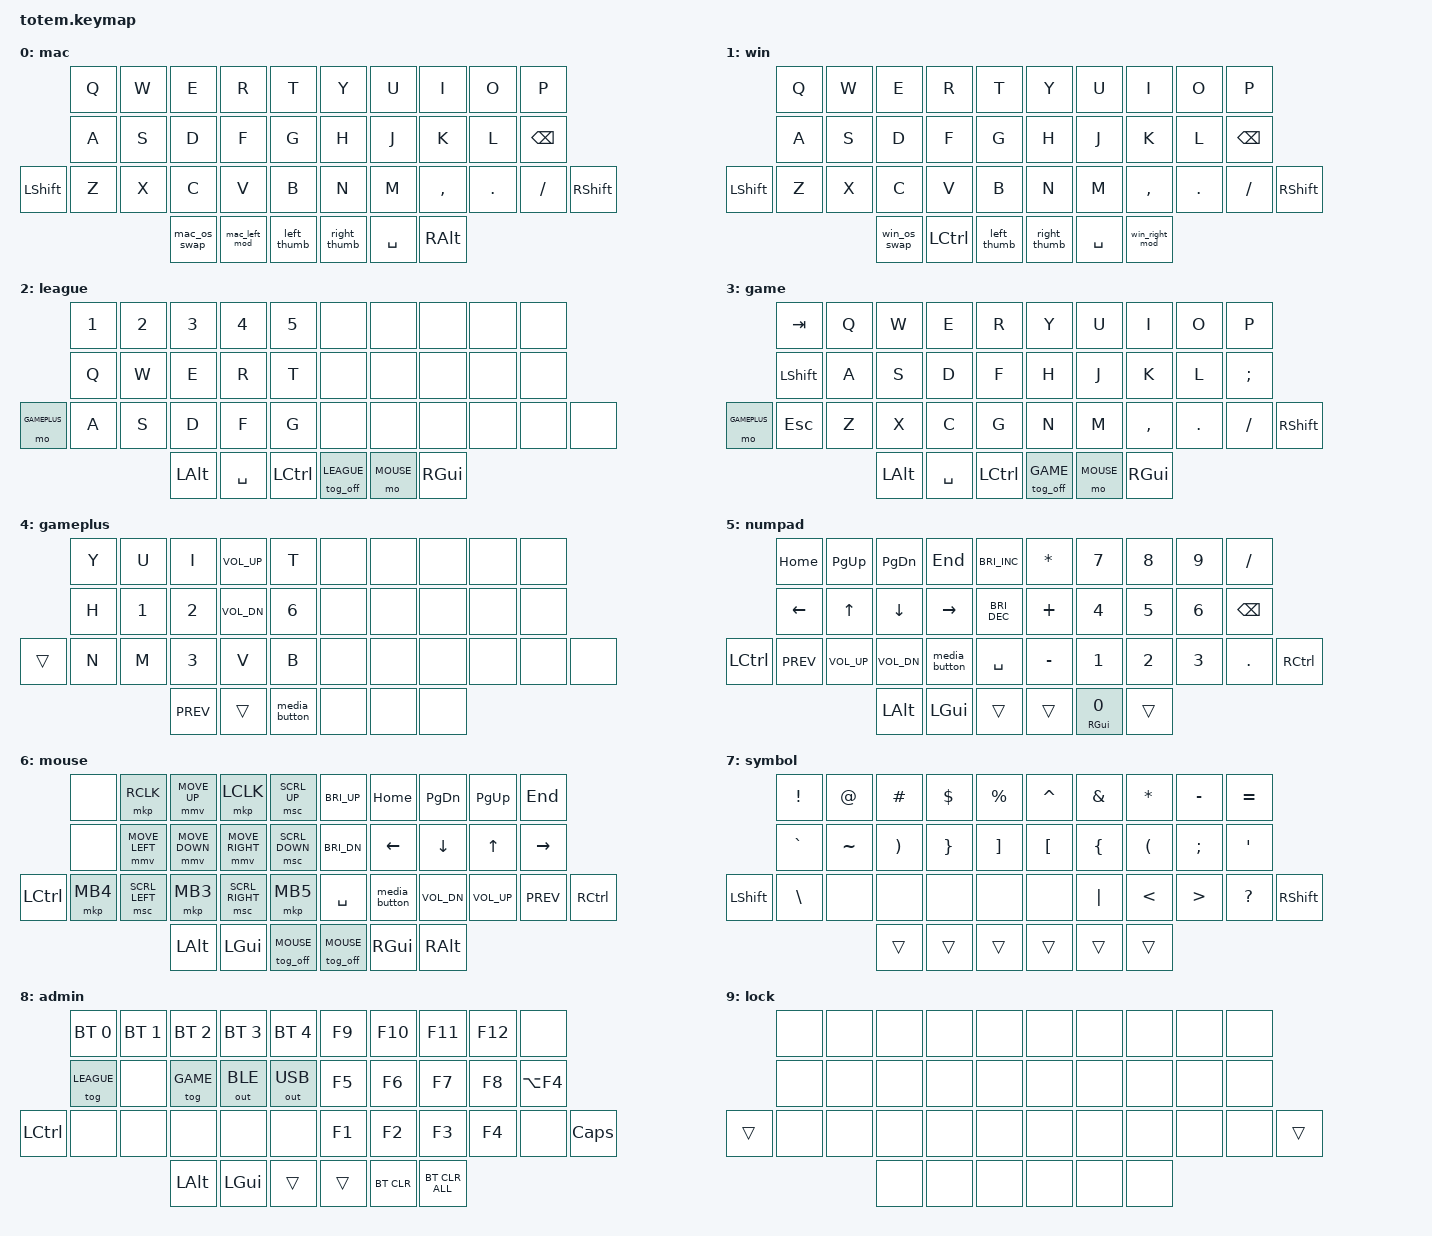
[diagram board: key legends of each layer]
//
//                                                        ▀▀▀▀▀     ▀▀▀▀▀          ▀▀█▀▀
//                                                        ▄▀▀▀▄  ▄  ▄▀▀▀▄  ▄  ▄▀▀▀▄  █  ▄▀▀▀▄
//                                                        █   █  █  █   █  █  █   █  █  █   █
//                                                         ▀▀▀   █   ▀▀▀   █   ▀▀▀   ▀   ▀▀▀
//                                                               █      ▄▄▄█▄▄▄    █   █  
//                                                               ▀      █  █  █     █▄█
//                                                             ▀▀▀▀▀    █  █  █      ▀
//                                                                      ▀  ▀  ▀
//
// ▄▄▄▄▄▄▄▄▄▄▄▄▄▄▄▄▄▄▄▄▄▄▄▄▄▄▄▄▄▄▄▄▄▄▄▄▄▄▄▄▄▄▄▄▄▄▄▄▄▄▄▄▄▄▄▄▄▄▄▄▄▄▄▄▄▄▄▄▄▄▄▄▄▄▄▄▄▄▄▄▄▄▄▄▄▄▄▄▄▄▄▄▄▄▄▄▄▄▄▄▄▄▄▄▄▄▄▄▄▄▄▄▄▄▄▄▄▄▄▄▄▄▄▄▄▄▄▄▄▄▄▄▄▄▄▄▄▄▄▄▄▄▄▄▄▄▄▄▄

#include <behaviors.dtsi>
#include <dt-bindings/zmk/bt.h>
#include <dt-bindings/zmk/keys.h>
#include <dt-bindings/zmk/outputs.h>
#include <dt-bindings/zmk/pointing.h>

#define ZMK_POINTING_DEFAULT_MOVE_VAL 1200
#define ZMK_POINTING_DEFAULT_SCRL_VAL 20
#define MAC 0
#define WIN 1
#define LEAGUE 2
#define GAME 3
#define GAMEPLUS 4
#define NUMPAD 5
#define MOUSE 6
#define SYMBOL 7
#define ADMIN 8

/ {
    combos {
        compatible = "zmk,combos";

        escape {
            bindings = <&kp ESCAPE>;
            key-positions = <21 22>;
            layers = <0 1 2>;
        };

        tab {
            bindings = <&kp TAB>;
            key-positions = <0 1>;
            layers = <0 1 2>;
        };

        lock {
            bindings = <&tog 9>;
            key-positions = <20 31>;
            layers = <0 1 9 6>;
            require-prior-idle-ms = <25>;
        };

        enter {
            bindings = <&kp ENTER>;
            key-positions = <18 19>;
            layers = <0 1 3>;
            require-prior-idle-ms = <30>;
        };

        game_enter {
            bindings = <&kp ENTER>;
            key-positions = <20 10>;
            layers = <3>;
        };

        left_del {
            bindings = <&kp DEL>;
            key-positions = <20 10>;
            layers = <0 1 5 7>;
        };

        soft_off {
            bindings = <&soft_off>;
            key-positions = <24 27>;
            layers = <8>;
        };

        league_six {
            bindings = <&kp N6>;
            key-positions = <3 4>;
            layers = <2>;
        };

        left_mute {
            bindings = <&kp C_MUTE>;
            key-positions = <23 22>;
            layers = <5>;
        };
    };

    behaviors {
        mmv {
            acceleration-exponent = <1>;      // 1
            time-to-max-speed-ms = <900>;    // 0
            delay-ms = <0>;                   // 0
        };

        msc {
            acceleration-exponent = <1>;      // 0
            time-to-max-speed-ms = <400>;      // 500
            delay-ms = <0>;                   //   10
        };

        left_thumb: left_thumb {
            compatible = "zmk,behavior-tap-dance";
            label = "LEFT_THUMB";
            #binding-cells = <0>;
            bindings = <&mo 5>, <&tog 6>;
        };

        right_thumb: right_thumb {
            compatible = "zmk,behavior-tap-dance";
            label = "RIGHT_THUMB";
            #binding-cells = <0>;
            bindings = <&mo 7>, <&tog 6>;
        };

        win_right_mod: win_right_mod {
            compatible = "zmk,behavior-tap-dance";
            label = "WIN_RIGHT_MOD";
            #binding-cells = <0>;
            bindings = <&kp RCTRL>, <&kp RGUI>;
        };

        win_os_swap: win_os_swap {
            compatible = "zmk,behavior-tap-dance";
            label = "WIN_OS_SWAP";
            #binding-cells = <0>;
            bindings = <&kp LEFT_ALT>, <&to 0>;
        };

        media_button: media_button {
            compatible = "zmk,behavior-tap-dance";
            label = "MEDIA_BUTTON";
            #binding-cells = <0>;
            bindings = <&kp C_PLAY_PAUSE>, <&kp C_NEXT>, <&kp C_PREV>;
        };

        mac_left_mod: mac_left_mod {
            compatible = "zmk,behavior-tap-dance";
            label = "MAC_LEFT_MOD";
            #binding-cells = <0>;
            bindings = <&kp LEFT_COMMAND>, <&kp LEFT_ALT>;
        };

        mac_os_swap: mac_os_swap {
            compatible = "zmk,behavior-tap-dance";
            label = "MAC_OS_SWAP";
            #binding-cells = <0>;
            bindings = <&kp LCTRL>, <&to 1>;
        };

        tog_off: toggle_layer_off_only {
            compatible = "zmk,behavior-toggle-layer";
            #binding-cells = <1>;
            display-name = "Toggle Layer Off";
            toggle-mode = "off";
        };
    };

    keymap {
        compatible = "zmk,keymap";

        // ▄▄▄▄▄▄▄▄▄▄▄▄▄▄▄▄▄▄▄▄▄▄▄▄▄▄▄▄▄▄▄▄▄▄▄▄▄▄▄▄▄▄▄▄▄▄▄▄▄▄▄▄▄▄▄▄▄▄▄▄▄▄▄▄▄▄▄▄▄▄▄▄▄▄▄▄▄▄▄▄▄▄▄▄▄▄▄▄▄▄▄▄▄▄▄▄▄▄▄▄▄▄▄▄▄▄▄▄▄▄▄▄▄▄▄▄▄▄▄▄▄▄▄▄▄▄▄▄▄▄▄▄▄▄▄▄▄▄▄▄▄▄▄▄▄▄▄▄▄

        mac {
            bindings = <
                &kp Q  &kp W  &kp E         &kp R          &kp T          &kp Y         &kp U      &kp I      &kp O    &kp P
                &kp A  &kp S  &kp D         &kp F          &kp G          &kp H         &kp J      &kp K      &kp L    &kp BSPC
&kp LEFT_SHIFT  &kp Z  &kp X  &kp C         &kp V          &kp B          &kp N         &kp M      &kp COMMA  &kp DOT  &kp SLASH  &kp RSHIFT
                              &mac_os_swap  &mac_left_mod  &left_thumb    &right_thumb  &kp SPACE  &kp RALT
            >;
        };

        win {
            bindings = <
                &kp Q  &kp W  &kp E         &kp R      &kp T          &kp Y         &kp U      &kp I           &kp O    &kp P
                &kp A  &kp S  &kp D         &kp F      &kp G          &kp H         &kp J      &kp K           &kp L    &kp BSPC
&kp LEFT_SHIFT  &kp Z  &kp X  &kp C         &kp V      &kp B          &kp N         &kp M      &kp COMMA       &kp DOT  &kp SLASH  &kp RSHIFT
                              &win_os_swap  &kp LCTRL  &left_thumb    &right_thumb  &kp SPACE  &win_right_mod
            >;
        };

        league {
            bindings = <
              &kp N1  &kp N2  &kp N3    &kp N4     &kp N5       &none            &none      &none          &none  &none
              &kp Q   &kp W   &kp E     &kp R      &kp T        &none            &none      &none          &none  &none
&mo GAMEPLUS  &kp A   &kp S   &kp D     &kp F      &kp G        &none            &none      &none          &none  &none  &none
                              &kp LALT  &kp SPACE  &kp LCTRL    &tog_off LEAGUE  &mo MOUSE  &kp RIGHT_GUI
            >;
        };

        game {
            bindings = <
              &kp TAB     &kp Q  &kp W     &kp E      &kp R        &kp Y          &kp U      &kp I          &kp O    &kp P
              &kp LSHIFT  &kp A  &kp S     &kp D      &kp F        &kp H          &kp J      &kp K          &kp L    &kp SEMICOLON
&mo GAMEPLUS  &kp ESC     &kp Z  &kp X     &kp C      &kp G        &kp N          &kp M      &kp COMMA      &kp DOT  &kp FSLH       &kp RSHIFT
                                 &kp LALT  &kp SPACE  &kp LCTRL    &tog_off GAME  &mo MOUSE  &kp RIGHT_GUI
            >;
        };

        gameplus {
            bindings = <
        &kp Y  &kp U   &kp I       &kp C_VOL_UP  &kp T            &none  &none  &none  &none  &none
        &kp H  &kp N1  &kp N2      &kp C_VOL_DN  &kp N6           &none  &none  &none  &none  &none
&trans  &kp N  &kp M   &kp N3      &kp V         &kp B            &none  &none  &none  &none  &none  &none
                       &kp C_PREV  &trans        &media_button    &none  &none  &none
            >;
        };

        numpad {
            bindings = <
           &kp HOME    &kp PG_UP     &kp PG_DN     &kp END        &kp C_BRIGHTNESS_INC    &kp STAR   &kp N7            &kp N8  &kp N9  &kp FSLH
           &kp LEFT    &kp UP        &kp DOWN      &kp RIGHT      &kp C_BRIGHTNESS_DEC    &kp PLUS   &kp N4            &kp N5  &kp N6  &kp BSPC
&kp LCTRL  &kp C_PREV  &kp C_VOL_UP  &kp C_VOL_DN  &media_button  &kp SPACE               &kp MINUS  &kp N1            &kp N2  &kp N3  &kp DOT   &kp RIGHT_CONTROL
                                     &kp LEFT_ALT  &kp LEFT_GUI   &trans                  &trans     &mt RIGHT_GUI N0  &trans
            >;
        };

        mouse {
            bindings = <
           &none     &mkp RCLK       &mmv MOVE_UP    &mkp LCLK        &msc SCRL_UP      &kp C_BRI_UP    &kp HOME       &kp PG_DN      &kp PG_UP     &kp END
           &none     &mmv MOVE_LEFT  &mmv MOVE_DOWN  &mmv MOVE_RIGHT  &msc SCRL_DOWN    &kp C_BRI_DN    &kp LEFT       &kp DOWN       &kp UP        &kp RIGHT
&kp LCTRL  &mkp MB4  &msc SCRL_LEFT  &mkp MB3        &msc SCRL_RIGHT  &mkp MB5          &kp SPACE       &media_button  &kp C_VOL_DN   &kp C_VOL_UP  &kp C_PREV  &kp RCTRL
                                     &kp LEFT_ALT    &kp LEFT_GUI     &tog_off MOUSE    &tog_off MOUSE  &kp RIGHT_GUI  &kp RIGHT_ALT
            >;
        };

        symbol {
            bindings = <
            &kp EXCLAMATION  &kp AT_SIGN  &kp POUND              &kp DOLLAR       &kp PERCENT          &kp CARET         &kp AMPERSAND   &kp ASTERISK          &kp MINUS         &kp EQUAL
            &kp GRAVE        &kp TILDE    &kp RIGHT_PARENTHESIS  &kp RIGHT_BRACE  &kp RIGHT_BRACKET    &kp LEFT_BRACKET  &kp LEFT_BRACE  &kp LEFT_PARENTHESIS  &kp SEMICOLON     &kp APOS
&kp LSHIFT  &kp BACKSLASH    &none        &none                  &none            &none                &none             &kp PIPE        &kp LESS_THAN         &kp GREATER_THAN  &kp QUESTION  &kp RIGHT_SHIFT
                                          &trans                 &trans           &trans               &trans            &trans          &trans
            >;
        };

        admin {
            bindings = <
           &bt BT_SEL 0  &bt BT_SEL 1  &bt BT_SEL 2  &bt BT_SEL 3  &bt BT_SEL 4    &kp F9  &kp F10     &kp F11         &kp F12  &none
           &tog LEAGUE   &none         &tog GAME     &out OUT_BLE  &out OUT_USB    &kp F5  &kp F6      &kp F7          &kp F8   &kp LA(F4)
&kp LCTRL  &none         &none         &none         &none         &none           &kp F1  &kp F2      &kp F3          &kp F4   &none       &kp CAPSLOCK
                                       &kp LEFT_ALT  &kp LEFT_GUI  &trans          &trans  &bt BT_CLR  &bt BT_CLR_ALL
            >;
        };

        lock {
            bindings = <
        &none  &none  &none  &none  &none    &none  &none  &none  &none  &none
        &none  &none  &none  &none  &none    &none  &none  &none  &none  &none
&trans  &none  &none  &none  &none  &none    &none  &none  &none  &none  &none  &trans
                      &none  &none  &none    &none  &none  &none
            >;
        };
    };

    conditional_layers {
        compatible = "zmk,conditional-layers";

        admin {
            if-layers = <5 7>;
            then-layer = <8>;
        };
    };
};

// ┏━━━━━━━━━━━━━━━━━━━━━━━━━━━━━━━━━━━━━━━┓
// ┗━━━━━━━━━━━━━━━━━━━━━━━━━━━━━━━━━━━━━━━┛
//             ┏━━━━━━━━━━━┳━━━━━━━━━━━┳━━━━━━━━━━━┳━━━━━━━━━━━┳━━━━━━━━━━━┓   ┏━━━━━━━━━━━┳━━━━━━━━━━━┳━━━━━━━━━━━┳━━━━━━━━━━━┳━━━━━━━━━━━┓
//             ┃     Q     ┃     W     ┃     E     ┃     R     ┃     T     ┃   ┃     Y     ┃     U     ┃     I     ┃     O     ┃     P     ┃
//             ┣━━━━━━━━━━━╋━━━━━━━━━━━╋━━━━━━━━━━━╋━━━━━━━━━━━╋━━━━━━━━━━━┫   ┣━━━━━━━━━━━╋━━━━━━━━━━━╋━━━━━━━━━━━╋━━━━━━━━━━━╋━━━━━━━━━━━┫
//             ┃     A     ┃     R     ┃     S     ┃     T     ┃     D     ┃   ┃     H     ┃     N     ┃     E     ┃     I     ┃     O     ┃
// ┏━━━━━━━━━━━╋━━━━━━━━━━━╋━━━━━━━━━━━╋━━━━━━━━━━━╋━━━━━━━━━━━╋━━━━━━━━━━━┫   ┣━━━━━━━━━━━╋━━━━━━━━━━━╋━━━━━━━━━━━╋━━━━━━━━━━━╋━━━━━━━━━━━╋━━━━━━━━━━━┓
// ┃     Q     ┃     Z     ┃     X     ┃     C     ┃     V     ┃     B     ┃   ┃     K     ┃     M     ┃     ,     ┃     .     ┃     /     ┃     \     ┃
// ┗━━━━━━━━━━━┻━━━━━━━━━━━┻━━━━━━━━━━━╋━━━━━━━━━━━╋━━━━━━━━━━━╋━━━━━━━━━━━┫   ┣━━━━━━━━━━━╋━━━━━━━━━━━╋━━━━━━━━━━━╋━━━━━━━━━━━┻━━━━━━━━━━━┻━━━━━━━━━━━┛
//                                     ┃    DEL    ┃    TAB    ┃    SPC    ┃   ┃   ENTER   ┃           ┃   BSPC    ┃
//                                     ┗━━━━━━━━━━━┻━━━━━━━━━━━┻━━━━━━━━━━━┛   ┗━━━━━━━━━━━┻━━━━━━━━━━━┻━━━━━━━━━━━┛
